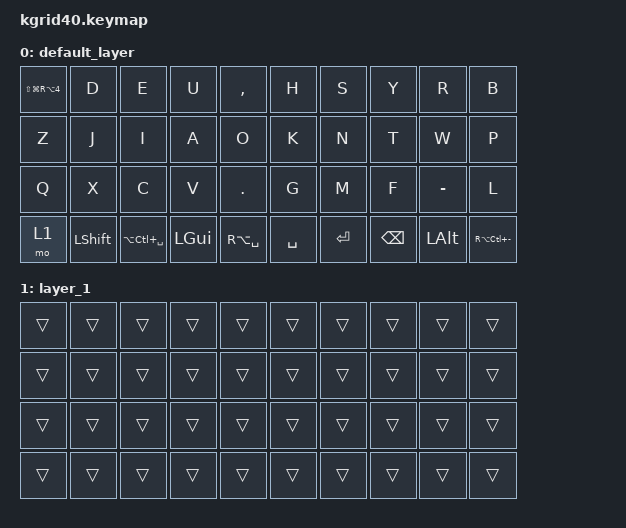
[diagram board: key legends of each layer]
#include <behaviors.dtsi>
#include <dt-bindings/zmk/keys.h>

/ {
    keymap {
        compatible = "zmk,keymap";

        /* 画像：スクリーンショット 2026-03-16 19.29.07.png の再現 */

        default_layer {
            bindings = <
&kp LS(LG(RA(N4)))  &kp D       &kp E              &kp U     &kp COMMA      &kp H      &kp S      &kp Y     &kp R         &kp B
&kp Z               &kp J       &kp I              &kp A     &kp O          &kp K      &kp N      &kp T     &kp W         &kp P
&kp Q               &kp X       &kp C              &kp V     &kp DOT        &kp G      &kp M      &kp F     &kp MINUS     &kp L
&mo 1               &kp LSHIFT  &kp LA(LC(SPACE))  &kp LGUI  &kp RA(SPACE)  &kp SPACE  &kp ENTER  &kp BSPC  &kp LEFT_ALT  &kp RA(LC(MINUS))
            >;
        };

        layer_1 {
            bindings = <
&trans  &trans  &trans  &trans  &trans  &trans  &trans  &trans  &trans  &trans
&trans  &trans  &trans  &trans  &trans  &trans  &trans  &trans  &trans  &trans
&trans  &trans  &trans  &trans  &trans  &trans  &trans  &trans  &trans  &trans
&trans  &trans  &trans  &trans  &trans  &trans  &trans  &trans  &trans  &trans
            >;
        };
    };
};
